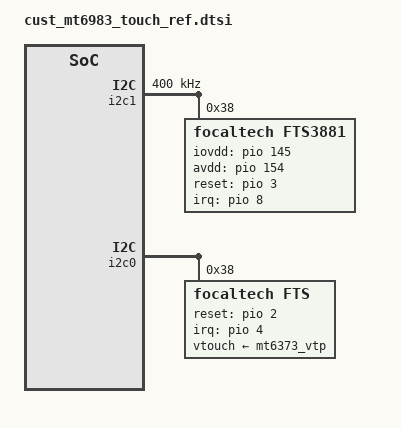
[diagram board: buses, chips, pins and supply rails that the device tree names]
// SPDX-License-Identifier: (GPL-2.0 OR MIT)
/*
 * Copyright (C) 2020 MediaTek Inc.
 */

/* TOUCH start */
&i2c1 {
	clock-frequency = <400000>;
	pinctrl-names = "main_default", "main_ts_int_active",
		"main_ts_reset_active", "main_ts_int_suspend",
		"main_ts_reset_suspend";
	pinctrl-0 = <&main_pins_default>;
	pinctrl-1 = <&main_ts_int_active>;
	Pinctrl-2 = <&main_ts_reset_active>;
	pinctrl-3 = <&main_ts_int_suspend>;
	pinctrl-4 = <&main_ts_reset_suspend>;
	pinctrl-5 = <&main_ts_i2c_mode>;
	focaltech@38 {
		compatible = "focaltech,fts3881";
		reg = <0x38> ;
		interrupt-parent = <&pio>;
		focaltech,iovdd-gpio = <&pio 145 0x0>;
		focaltech,avdd-gpio = <&pio 154 0x0>;
		focaltech,reset-gpio = <&pio 3 0x0>;
		interrupts = <8 IRQ_TYPE_EDGE_FALLING 8 0>;
		focaltech,irq-gpio = <&pio 8 0x0>;
		focaltech,max-touch-number = <10>;
		focaltech,display-coords =  <0 0 2296 2000>;
		focaltech,double-tp;
		status = "okay";
	};
};

&i2c0 {
	pinctrl-names = "sub_default", "sub_ts_int_active",
		"sub_ts_reset_active", "sub_ts_int_suspend",
		"sub_ts_reset_suspend", "sub_ts_i2c_mode";
	pinctrl-0 = <&sub_pins_default>;
	pinctrl-1 = <&sub_ts_int_active>;
	pinctrl-2 = <&sub_ts_reset_active>;
	pinctrl-3 = <&sub_ts_int_suspend>;
	pinctrl-4 = <&sub_ts_reset_suspend>;
	pinctrl-5 = <&sub_ts_i2c_mode>;
	focaltech@38 {
		compatible = "focaltech,fts";
		reg = <0x38>;
		vtouch-supply = <&mt6373_vtp>;
		interrupt-parent = <&pio>;
		focaltech,reset-gpio = <&pio 2 0x0>;
		interrupts = <4 IRQ_TYPE_EDGE_FALLING 4 0>;
		focaltech,irq-gpio = <&pio 4 0x0>;
		focaltech,max-touch-number = <10>;
		focaltech,display-coords =  <0 0 1080 2550>;
		status = "okay";
	};
};

&pio {
	/* main CTP gpio config */
	main_pins_default: main_eintdefault {
	};
	main_ts_int_active: main_int_active {
		pins_cmd_dat {
			pinmux = <PINMUX_GPIO8__FUNC_GPIO8>;
			input-enable;
		};
	};
	main_ts_reset_active: main_reset_active {
		pins_cmd_dat {
			pinmux = <PINMUX_GPIO3__FUNC_GPIO3>;
			output-high;
		};
	};
	main_ts_int_suspend: main_int_suspend {
		pins_cmd_dat {
			pinmux = <PINMUX_GPIO8__FUNC_GPIO8>;
			output-low;
		};
	};
	main_ts_reset_suspend: main_reset_suspend {
		pins_cmd_dat {
			pinmux = <PINMUX_GPIO3__FUNC_GPIO3>;
			output-low;
		};
	};
	main_ts_i2c_mode: main_i2cmode_default {
		pins_cmd_dat {
			pinmux = <PINMUX_GPIO173__FUNC_SCL1>,
				<PINMUX_GPIO174__FUNC_SDA1>;
		};
	};

	/* sub CTP gpio config */
	sub_pins_default: sub_eintdefault {
	};
	sub_ts_int_active: sub_int_active {
		pins_cmd_dat {
			pinmux = <PINMUX_GPIO4__FUNC_GPIO4>;
			input-enable;
		};
	};
	sub_ts_reset_active: sub_reset_active {
		pins_cmd_dat {
			pinmux = <PINMUX_GPIO2__FUNC_GPIO2>;
			output-high;
		};
	};
	sub_ts_int_suspend: sub_int_suspend {
		pins_cmd_dat {
			pinmux = <PINMUX_GPIO4__FUNC_GPIO4>;
			output-low;
		};
	};
	sub_ts_reset_suspend: sub_reset_suspend {
		pins_cmd_dat {
			pinmux = <PINMUX_GPIO2__FUNC_GPIO2>;
			output-low;
		};
	};
	sub_ts_i2c_mode: sub_i2cmode_default {
		pins_cmd_dat {
			pinmux = <PINMUX_GPIO78__FUNC_SCL0>,
				<PINMUX_GPIO79__FUNC_SDA0>;
		};
	};
};
/* TOUCH end */
